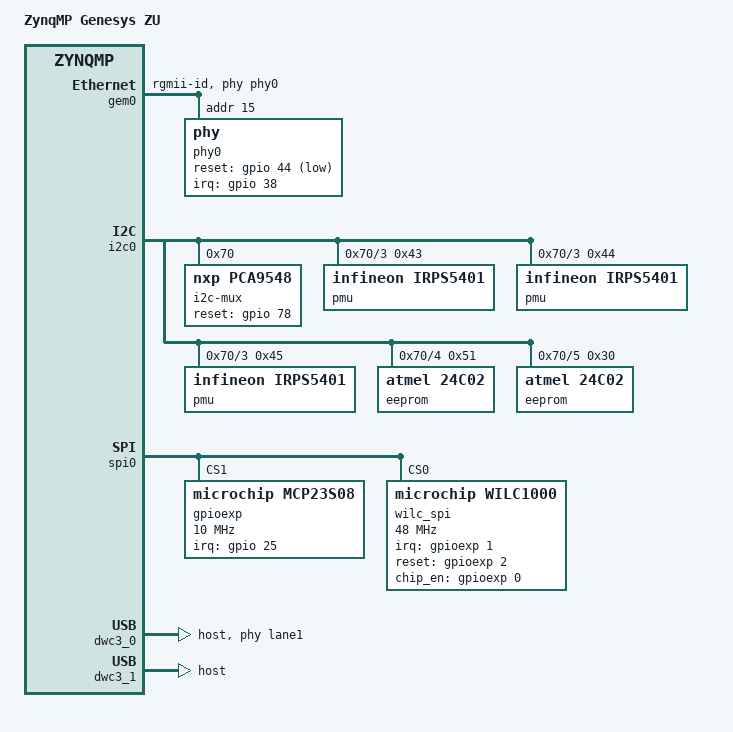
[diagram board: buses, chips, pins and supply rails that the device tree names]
#include "include/dt-bindings/interrupt-controller/irq.h"
#include "include/dt-bindings/gpio/gpio.h"
#include "include/dt-bindings/media/xilinx-vip.h"
#include "include/dt-bindings/net/ti-dp83867.h"
#include "include/dt-bindings/phy/phy.h"

/ {
	model = "ZynqMP Genesys ZU";
	compatible = "xlnx,zynqmp-genesyszu", "xlnx,zynqmp";
};

&sdhci1 {
        /delete-property/ no-1-8-v;
	disable-wp;
	xlnx,itap-delay-sd-hsd = <0x29>;
	xlnx,itap-delay-sd-ddr50 = <0x32>;
	xlnx,itap-delay-sdr25 = <0x2A>;
	xlnx,itap-delay-sdr50 = <0x1E>;
	xlnx,itap-delay-sdr104 = <0x0B>; //although auto-tuned, tuning fails on some cards if not set
};

&gem0 {
	status = "okay";
	phy-handle = <&phy0>;
	phy-mode = "rgmii-id";
	phy0: phy@15 {
		reg = <0x0F>;
		reset-gpios = <&gpio 44 GPIO_ACTIVE_LOW>;
		reset-assert-us = <1>;
		reset_deassert-us = <200>;
		interrupt-parent = <&gpio>;
		interrupts = <38 IRQ_TYPE_LEVEL_LOW>;
		ti,rx-internal-delay = <DP83867_RGMIIDCTL_2_00_NS>; //overwrites strap config
		ti,tx-internal-delay = <DP83867_RGMIIDCTL_1_50_NS>; //overwrites strap config
		ti,fifo-depth = <DP83867_PHYCR_FIFO_DEPTH_4_B_NIB>;
		ti,clk-output-sel = <DP83867_CLK_O_SEL_REF_CLK>;
	};
};


/*
Adding support for the mux and expose all 8 segments.
RESET# pin of TCA9548 is inverted on-board. Mapped to
EMIO[0] which is line 78.
*/
&i2c0 {
	i2c-mux@70 {
		compatible = "nxp,pca9548";
		#address-cells = <1>;
		#size-cells = <0>;
		reg = <0x70>;
		reset-gpios = <&gpio 78 GPIO_ACTIVE_HIGH>;
		i2c@0 {
			#address-cells = <1>;
			#size-cells = <0>;
			reg = <0>;
		};
		i2c@1 {
			#address-cells = <1>;
			#size-cells = <0>;
			reg = <1>;
		};
		i2c@2 {
			#address-cells = <1>;
			#size-cells = <0>;
			reg = <2>;
		};
		i2c@3 {
			#address-cells = <1>;
			#size-cells = <0>;
			reg = <3>;
			pmu@43 { /* IRPS5401 - IC81 */
				#clock-cells = <0>;
				compatible = "infineon,irps5401";
				reg = <0x43>; /*PMBUS address*/
			};
			pmu@44 { /* IRPS5401 - IC83 */
				#clock-cells = <0>;
				compatible = "infineon,irps5401";
				reg = <0x44>; /*PMBUS address*/
			};
			pmu@45 { /* IRPS5401 - IC84 */
				#clock-cells = <0>;
				compatible = "infineon,irps5401";
				reg = <0x45>; /*PMBUS address*/
			};
		};
		i2c@4 {
			#address-cells = <1>;
			#size-cells = <0>;
			reg = <4>;
			eeprom@51 { /*FMC VITA 57.1 FRU*/
				compatible = "atmel,24c02";
				reg = <0x51>;
				pagesize = <1>; /* varies between models, so use a safe value */
			};
		};
		i2c@5 {
			#address-cells = <1>;
			#size-cells = <0>;
			reg = <5>;
			/* not sure if we should bind the eeprom driver to the SYZYGY DNA */
			eeprom@30 { /* SYZYGY DNA */
				compatible = "atmel,24c02";
				reg = <0x30>;
				read-only;
				address-width = <16>;
				size = <65536>; /*the whole 16-bit address range*/
			};
		};
		i2c@6 {
			#address-cells = <1>;
			#size-cells = <0>;
			reg = <6>;
		};
		i2c@7 {
			#address-cells = <1>;
			#size-cells = <0>;
			reg = <7>;
		};
	};
};

&spi0 {
	gpioexp: gpio@1 {
		compatible = "microchip,mcp23s08";
		gpio-controller;
		#reset-cells = <1>;
		#gpio-cells = <2>;
		interrupt-parent = <&gpio>;
		interrupts = <25 IRQ_TYPE_LEVEL_LOW>;
		microchip,spi-present-mask = <0x01>;
		interrupt-controller;
		#interrupt-cells = <0x2>;
		reg = <1>; /*SS[1]*/
		spi-max-frequency = <10000000>;
	};
	wilc_spi@0 {
		compatible = "microchip,wilc1000", "microchip,wilc3000";
		spi-max-frequency = <48000000>;
		reg = <0>;
		irq-gpios = <&gpioexp 1 0>;
		reset-gpios = <&gpioexp 2 0>;
		chip_en-gpios = <&gpioexp 0 0>;
		status = "okay";
	};
};

/*&usb0 {
	status = "disabled";
};*/

&qspi {
	u-boot,dm-pre-reloc;
};

&dwc3_0 {
	dr_mode = "host";
	snps,usb3_lpm_capable;
	phy-names = "usb3-phy";
	//phys = <PHANDLE CONTROLLER_TYPE CONTROLLER_INSTANCE LANE_NUM LANE_FREQ>;
	phys = <&lane1 PHY_TYPE_USB3 0 0 100000000>;
	snps,dis_u2_susphy_quirk ;
	snps,dis_u3_susphy_quirk ;
	maximum-speed = "super-speed";
};

&dwc3_1 {
	snps,dis_u2_susphy_quirk;
	snps,dis_u3_susphy_quirk;
	//resets = <&gpiom1 5>;
	dr_mode = "host";
};

&ams_pl {
	xlnx,ext-channels {
		#address-cells = <1>;
		#size-cells = <0>;
		channel@0 {
			reg = <0>;
		};
		channel@5 {
			reg = <5>;
		};
		channel@6 {
			reg = <6>;
		};
		channel@7 {
			reg = <7>;
		};
		channel@8 {
			reg = <8>;
		};
	};
};

&gpio {
	gpio-line-names =
	"gpio0",
	"gpio1",
	"gpio2",
	"gpio3",
	"gpio4",
	"gpio5",
	"gpio6",
	"gpio7",
	"gpio8",
	"gpio9",
	"btn1",
	"btn0",
	"gpio12",
	"gpio13",
	"gpio14",
	"gpio15",
	"gpio16",
	"gpio17",
	"gpio18",
	"gpio19",
	"gpio20",
	"led0",
	"gpio22",
	"gpio23",
	"gpio24",
	"gpio25",
	"gpio26",
	"gpio27",
	"gpio28",
	"gpio29",
	"gpio30",
	"gpio31",
	"gpio32",
	"gpio33",
	"gpio34",
	"gpio35",
	"gpio36",
	"gpio37",
	"gpio38",
	"gpio39",
	"gpio40",
	"gpio41",
	"gpio42",
	"gpio43",
	"gpio44",
	"gpio45",
	"gpio46",
	"gpio47",
	"gpio48",
	"gpio49",
	"gpio50",
	"gpio51",
	"gpio52",
	"gpio53",
	"gpio54",
	"gpio55",
	"gpio56",
	"gpio57",
	"gpio58",
	"gpio59",
	"gpio60",
	"gpio61",
	"gpio62",
	"gpio63",
	"gpio64",
	"gpio65",
	"gpio66",
	"gpio67",
	"gpio68",
	"gpio69",
	"gpio70",
	"gpio71",
	"gpio72",
	"gpio73",
	"gpio74",
	"gpio75",
	"gpio76",
	"gpio77",
	"iic_mux_reset",
	"mipiA_pwup",
	"mipiB_pwup",
	"gpio81",
	"gpio82",
	"gpio83",
	"gpio84",
	"gpio85",
	"gpio86",
	"gpio87",
	"gpio88",
	"gpio89",
	"gpio90",
	"gpio91",
	"gpio92",
	"gpio93",
	"gpio94",
	"gpio95",
	"gpio96",
	"gpio97",
	"gpio98",
	"gpio99",
	"gpio100",
	"gpio101",
	"gpio102",
	"gpio103",
	"gpio104",
	"gpio105",
	"gpio106",
	"gpio107",
	"gpio108",
	"gpio109",
	"gpio110",
	"gpio111",
	"gpio112",
	"gpio113",
	"gpio114",
	"gpio115",
	"gpio116",
	"gpio117",
	"gpio118",
	"gpio119",
	"gpio120",
	"gpio121",
	"gpio122",
	"gpio123",
	"gpio124",
	"gpio125",
	"gpio126",
	"gpio127",
	"gpio128",
	"gpio129",
	"gpio130",
	"gpio131",
	"gpio132",
	"gpio133",
	"gpio134",
	"gpio135",
	"gpio136",
	"gpio137",
	"gpio138",
	"gpio139",
	"gpio140",
	"gpio141",
	"gpio142",
	"gpio143",
	"gpio144",
	"gpio145",
	"gpio146",
	"gpio147",
	"gpio148",
	"gpio149",
	"gpio150",
	"gpio151",
	"gpio152",
	"gpio153",
	"gpio154",
	"gpio155",
	"gpio156",
	"gpio157",
	"gpio158",
	"gpio159",
	"gpio160",
	"gpio161",
	"gpio162",
	"gpio163",
	"gpio164",
	"gpio165",
	"gpio166",
	"gpio167",
	"gpio168",
	"gpio169",
	"gpio170",
	"gpio171",
	"gpio172",
	"gpio173";

};
